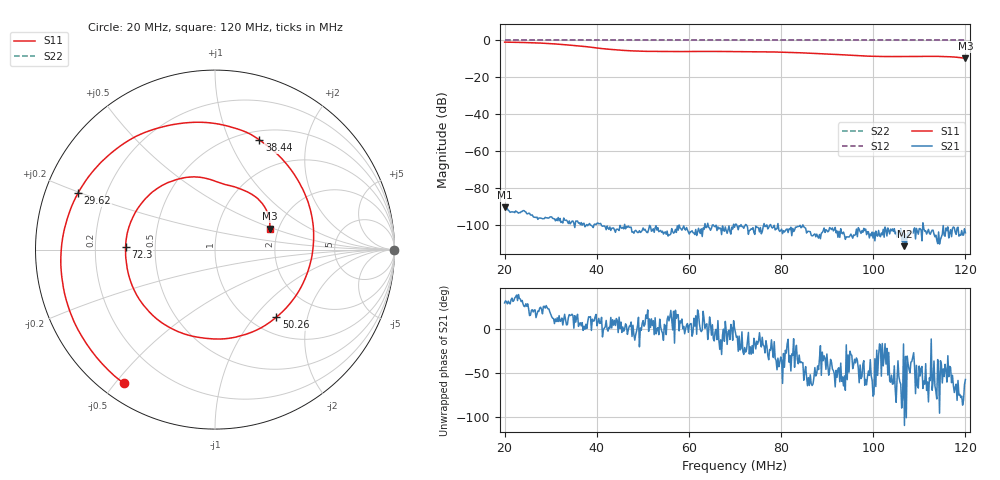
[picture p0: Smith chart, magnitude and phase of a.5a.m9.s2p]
! Anritsu VNA Master:  Model: MS2036C/10/77
! SN:  1601066
! /bd0/18may8/255.ew.m9.s2p
! Existing Calibration Information:
! TYPE:  Current Settings,  Active Cal Settings
! TIME:  05/08/2018 10:31:17 AM,  05/08/2018 10:22:10 AM
! INTERNAL TEMP:  48.0 C,  47.5 C
! # POINTS:  500,  500
! START FREQ:  20.000 MHz,  20.000 MHz
! STOP FREQ:  120.000 MHz,  120.000 MHz
! SOURCE POWER:  High,  High
! IFBW:  50 Hz,  50 Hz
! AVG FACTOR:  1 ,  1
! REF PLANE 1:  0 mm,  0 mm
! REF PLANE 2:  0 mm,  0 mm
! CAL TYPE:  Full S11,  Full S11
! CAL METHOD:  SOLT,  SOLT
! CAL LINE TYPE:  Coax,  Coax
! DUT PORT 1:  K-Conn(F),  K-Conn(F)
! DUT PORT 2:  K-Conn(F),  K-Conn(F)
! CAL STATUS:  OK: Accuracy High,  --
# GHZ S DB R 50.0
! FREQ.GHZ  S11DB  S11A  S21DB  S21A  S12DB  S12A  S22DB  S22A
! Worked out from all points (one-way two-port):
!   500 points, 20 MHz to 120 MHz, reference 50 ohm
!   highest |S21| = -90.52 dB at 20 MHz (marker M1); lowest = -111.5 dB at 106.8 MHz (marker M2)
!   lowest |S11| = -9.7 dB at 120 MHz (marker M3), VSWR 1.97, Z = 89.9 + j23.6 ohm
!   |S11| at or under -10 dB: nowhere
!   |S22| runs from 0.0 to 0.0 dB; largest |S21 - S12| = 1
!   S11 on the Smith chart (normalised r, x): 20 MHz: 0.07, -0.53; 29.62 MHz: 0.10, +0.20; 38.44 MHz: 0.60, +1.30; 50.26 MHz: 1.29, -1.31; 72.3 MHz: 0.33, +0.01; 120 MHz: 1.80, +0.47
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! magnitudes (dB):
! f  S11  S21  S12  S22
! 20 MHz  -0.9  -90.5  0.0  0.0
! 26.21 MHz  -1.3  -95.5  0.0  0.0
! 29.62 MHz  -1.7  -96.2  0.0  0.0
! 32.83 MHz  -2.2  -96.2  0.0  0.0
! 36.83 MHz  -3.2  -100.1  0.0  0.0
! 38.44 MHz  -3.6  -99.2  0.0  0.0
! 41.44 MHz  -4.5  -100.6  0.0  0.0
! 44.65 MHz  -5.2  -102.5  0.0  0.0
! 47.05 MHz  -5.6  -101.3  0.0  0.0
! 50.26 MHz  -5.9  -102.9  0.0  0.0
! 53.47 MHz  -6.0  -103.7  0.0  0.0
! 64.69 MHz  -5.9  -102.9  0.0  0.0
! 70.1 MHz  -6.0  -99.6  0.0  0.0
! 72.3 MHz  -6.0  -99.7  0.0  0.0
! 78.72 MHz  -6.3  -102.7  0.0  0.0
! 86.73 MHz  -7.0  -106.0  0.0  0.0
! 98.36 MHz  -8.5  -102.2  0.0  0.0
! 103.4 MHz  -8.7  -103.0  0.0  0.0
! 106.8 MHz  -8.7  -111.5  0.0  0.0
! 115.2 MHz  -8.7  -100.3  0.0  0.0
! 117.6 MHz  -9.0  -101.5  0.0  0.0
! 120 MHz  -9.7  -104.2  0.0  0.0
